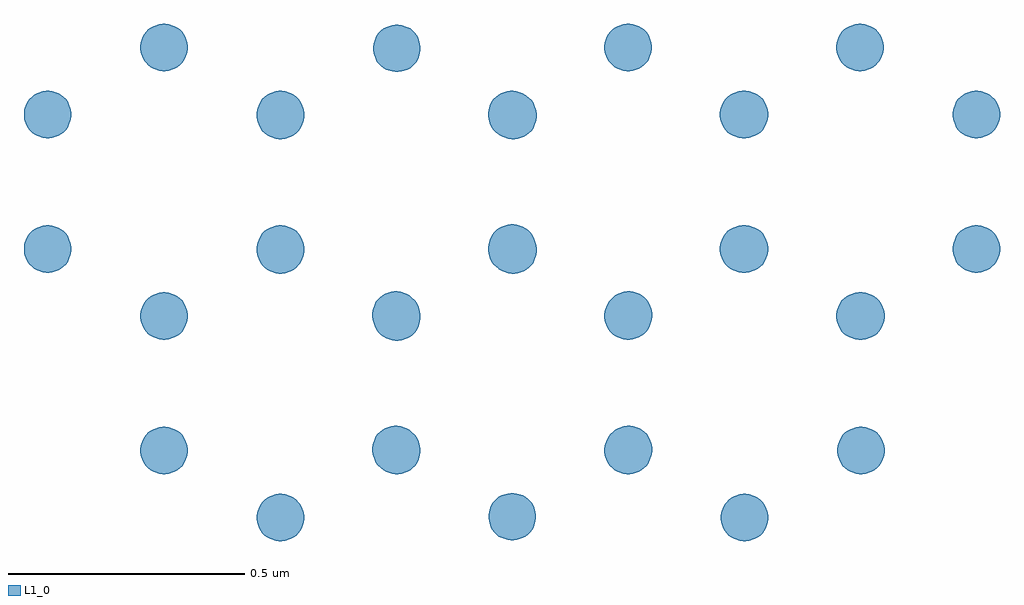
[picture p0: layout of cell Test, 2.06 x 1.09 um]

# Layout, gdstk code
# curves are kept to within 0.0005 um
from math import pi, radians
import gdstk
lib = gdstk.Library(unit=1e-6, precision=1e-09)
def P(c, l, *ps):  # polygons
    for p in ps: c.add(gdstk.Polygon(p, *l))
L1_0 = (1, 0)

divot = lib.new_cell('Divot')

hexagonal_lattice = lib.new_cell('Hexagonal$Lattice')
hexagonal_lattice.add(gdstk.Reference(divot, (-0.246,-0.142), rotation=pi))
hexagonal_lattice.add(gdstk.Reference(divot, (0.246,-0.142), rotation=pi))
hexagonal_lattice.add(gdstk.Reference(divot, (0.246,0.142), rotation=pi))
hexagonal_lattice.add(gdstk.Reference(divot, (0,0.284), rotation=pi))
hexagonal_lattice.add(gdstk.Reference(divot, (-0.246,0.142), rotation=pi))
hexagonal_lattice.add(gdstk.Reference(divot, (0,-0.284), rotation=pi))

test = lib.new_cell('Test')
P(test, L1_0, [(-0.438,-0.223),(-0.445,-0.222),(-0.457,-0.218),(-0.463,-0.215),(-0.473,-0.206),(-0.477,-0.201),(-0.48,-0.195),(-0.484,-0.183),(-0.485,-0.17),(-0.484,-0.163),(-0.48,-0.151),(-0.477,-0.145),(-0.468,-0.135),(-0.463,-0.131),(-0.457,-0.128),(-0.445,-0.124),(-0.432,-0.123),(-0.425,-0.124),(-0.413,-0.128),(-0.407,-0.131),(-0.397,-0.14),(-0.393,-0.145),(-0.39,-0.151),(-0.386,-0.163),(-0.385,-0.176),(-0.386,-0.183),(-0.39,-0.195),(-0.393,-0.201),(-0.402,-0.211),(-0.407,-0.215),(-0.413,-0.218),(-0.425,-0.222)],
  [(0.543,-0.223),(0.536,-0.222),(0.524,-0.218),(0.518,-0.215),(0.508,-0.206),(0.504,-0.201),(0.501,-0.195),(0.497,-0.183),(0.496,-0.17),(0.497,-0.163),(0.501,-0.151),(0.504,-0.145),(0.513,-0.135),(0.518,-0.131),(0.524,-0.128),(0.536,-0.124),(0.549,-0.123),(0.556,-0.124),(0.568,-0.128),(0.574,-0.131),(0.584,-0.14),(0.588,-0.145),(0.591,-0.151),(0.595,-0.163),(0.596,-0.176),(0.595,-0.183),(0.591,-0.195),(0.588,-0.201),(0.579,-0.211),(0.574,-0.215),(0.568,-0.218),(0.556,-0.222)],
  [(0.052,-0.221),(0.045,-0.22),(0.033,-0.216),(0.027,-0.213),(0.017,-0.204),(0.013,-0.199),(0.01,-0.193),(0.006,-0.181),(0.005,-0.168),(0.006,-0.161),(0.01,-0.149),(0.013,-0.143),(0.022,-0.133),(0.027,-0.129),(0.033,-0.126),(0.045,-0.122),(0.058,-0.121),(0.065,-0.122),(0.077,-0.126),(0.083,-0.129),(0.093,-0.138),(0.097,-0.143),(0.1,-0.149),(0.104,-0.161),(0.105,-0.174),(0.104,-0.181),(0.1,-0.193),(0.097,-0.199),(0.088,-0.209),(0.083,-0.213),(0.077,-0.216),(0.065,-0.22)],
  [(-0.684,-0.081),(-0.691,-0.08),(-0.703,-0.076),(-0.709,-0.073),(-0.719,-0.064),(-0.723,-0.059),(-0.726,-0.053),(-0.73,-0.041),(-0.731,-0.028),(-0.73,-0.021),(-0.726,-0.009),(-0.723,-0.003),(-0.714,0.007),(-0.709,0.011),(-0.703,0.014),(-0.691,0.018),(-0.678,0.019),(-0.671,0.018),(-0.659,0.014),(-0.653,0.011),(-0.643,0.002),(-0.639,-0.003),(-0.636,-0.009),(-0.632,-0.021),(-0.631,-0.034),(-0.632,-0.041),(-0.636,-0.053),(-0.639,-0.059),(-0.648,-0.069),(-0.653,-0.073),(-0.659,-0.076),(-0.671,-0.08)],
  [(0.789,-0.081),(0.782,-0.08),(0.77,-0.076),(0.764,-0.073),(0.754,-0.064),(0.75,-0.059),(0.747,-0.053),(0.743,-0.041),(0.742,-0.028),(0.743,-0.021),(0.747,-0.009),(0.75,-0.003),(0.759,0.007),(0.764,0.011),(0.77,0.014),(0.782,0.018),(0.795,0.019),(0.802,0.018),(0.814,0.014),(0.82,0.011),(0.83,0.002),(0.834,-0.003),(0.837,-0.009),(0.841,-0.021),(0.842,-0.034),(0.841,-0.041),(0.837,-0.053),(0.834,-0.059),(0.825,-0.069),(0.82,-0.073),(0.814,-0.076),(0.802,-0.08)],
  [(-0.192,-0.081),(-0.199,-0.08),(-0.211,-0.076),(-0.217,-0.073),(-0.229,-0.062),(-0.233,-0.057),(-0.236,-0.051),(-0.24,-0.039),(-0.241,-0.026),(-0.24,-0.019),(-0.236,-0.007),(-0.233,-0.001),(-0.224,0.009),(-0.219,0.013),(-0.213,0.016),(-0.201,0.02),(-0.188,0.021),(-0.181,0.02),(-0.169,0.016),(-0.163,0.013),(-0.151,0.002),(-0.147,-0.003),(-0.144,-0.009),(-0.14,-0.021),(-0.139,-0.034),(-0.14,-0.041),(-0.144,-0.053),(-0.147,-0.059),(-0.156,-0.069),(-0.161,-0.073),(-0.167,-0.076),(-0.179,-0.08)],
  [(0.297,-0.081),(0.29,-0.08),(0.278,-0.076),(0.272,-0.073),(0.262,-0.064),(0.258,-0.059),(0.255,-0.053),(0.251,-0.041),(0.25,-0.028),(0.251,-0.021),(0.255,-0.009),(0.259,-0.001),(0.268,0.009),(0.273,0.013),(0.279,0.016),(0.291,0.02),(0.304,0.021),(0.311,0.02),(0.323,0.016),(0.329,0.013),(0.339,0.004),(0.343,-0.001),(0.346,-0.007),(0.35,-0.019),(0.351,-0.032),(0.35,-0.039),(0.346,-0.051),(0.342,-0.059),(0.333,-0.069),(0.328,-0.073),(0.322,-0.076),(0.31,-0.08)],
  [(-0.684,0.203),(-0.691,0.204),(-0.703,0.208),(-0.709,0.211),(-0.719,0.22),(-0.723,0.225),(-0.726,0.231),(-0.73,0.243),(-0.731,0.256),(-0.73,0.263),(-0.726,0.275),(-0.723,0.281),(-0.714,0.291),(-0.709,0.295),(-0.703,0.298),(-0.691,0.302),(-0.678,0.303),(-0.671,0.302),(-0.659,0.298),(-0.653,0.295),(-0.643,0.286),(-0.639,0.281),(-0.636,0.275),(-0.632,0.263),(-0.631,0.25),(-0.632,0.243),(-0.636,0.231),(-0.639,0.225),(-0.648,0.215),(-0.653,0.211),(-0.659,0.208),(-0.671,0.204)],
  [(0.787,0.203),(0.78,0.204),(0.768,0.208),(0.762,0.211),(0.752,0.22),(0.748,0.225),(0.745,0.231),(0.741,0.243),(0.74,0.256),(0.741,0.263),(0.745,0.275),(0.748,0.281),(0.757,0.291),(0.762,0.295),(0.768,0.298),(0.78,0.302),(0.787,0.303),(0.795,0.303),(0.802,0.302),(0.814,0.298),(0.82,0.295),(0.83,0.286),(0.834,0.281),(0.837,0.275),(0.841,0.263),(0.842,0.25),(0.841,0.243),(0.837,0.231),(0.834,0.225),(0.825,0.215),(0.82,0.211),(0.814,0.208),(0.802,0.204),(0.795,0.203)],
  [(-0.192,0.201),(-0.199,0.202),(-0.211,0.206),(-0.217,0.209),(-0.227,0.218),(-0.231,0.223),(-0.236,0.233),(-0.24,0.245),(-0.241,0.258),(-0.24,0.265),(-0.236,0.277),(-0.233,0.283),(-0.224,0.293),(-0.219,0.297),(-0.213,0.3),(-0.201,0.304),(-0.188,0.305),(-0.181,0.304),(-0.169,0.3),(-0.163,0.297),(-0.151,0.286),(-0.147,0.281),(-0.144,0.275),(-0.14,0.263),(-0.139,0.256),(-0.139,0.248),(-0.14,0.241),(-0.144,0.229),(-0.147,0.223),(-0.156,0.213),(-0.161,0.209),(-0.167,0.206),(-0.179,0.202)],
  [(0.297,0.203),(0.29,0.204),(0.278,0.208),(0.272,0.211),(0.262,0.22),(0.258,0.225),(0.255,0.231),(0.251,0.243),(0.25,0.256),(0.251,0.263),(0.255,0.275),(0.259,0.283),(0.268,0.293),(0.273,0.297),(0.279,0.3),(0.291,0.304),(0.304,0.305),(0.311,0.304),(0.323,0.3),(0.329,0.297),(0.339,0.288),(0.343,0.283),(0.346,0.277),(0.35,0.265),(0.351,0.252),(0.35,0.245),(0.346,0.233),(0.342,0.225),(0.333,0.215),(0.328,0.211),(0.322,0.208),(0.31,0.204)],
  [(-0.93,0.345),(-0.937,0.346),(-0.949,0.35),(-0.955,0.353),(-0.965,0.362),(-0.969,0.367),(-0.972,0.373),(-0.976,0.385),(-0.977,0.398),(-0.976,0.405),(-0.972,0.417),(-0.969,0.423),(-0.96,0.433),(-0.955,0.437),(-0.949,0.44),(-0.937,0.444),(-0.924,0.445),(-0.917,0.444),(-0.905,0.44),(-0.899,0.437),(-0.889,0.428),(-0.885,0.423),(-0.882,0.417),(-0.878,0.405),(-0.877,0.392),(-0.878,0.385),(-0.882,0.373),(-0.885,0.367),(-0.894,0.357),(-0.899,0.353),(-0.905,0.35),(-0.917,0.346)],
  [(-0.438,0.343),(-0.445,0.344),(-0.457,0.348),(-0.463,0.351),(-0.473,0.36),(-0.477,0.365),(-0.48,0.371),(-0.484,0.383),(-0.485,0.39),(-0.485,0.398),(-0.484,0.405),(-0.48,0.417),(-0.477,0.423),(-0.468,0.433),(-0.463,0.437),(-0.457,0.44),(-0.445,0.444),(-0.432,0.445),(-0.425,0.444),(-0.413,0.44),(-0.407,0.437),(-0.397,0.428),(-0.393,0.423),(-0.39,0.417),(-0.386,0.405),(-0.385,0.398),(-0.385,0.39),(-0.386,0.383),(-0.39,0.371),(-0.393,0.365),(-0.402,0.355),(-0.407,0.351),(-0.413,0.348),(-0.425,0.344)],
  [(0.541,0.345),(0.534,0.346),(0.522,0.35),(0.516,0.353),(0.506,0.362),(0.502,0.367),(0.499,0.373),(0.495,0.385),(0.494,0.398),(0.495,0.405),(0.499,0.417),(0.502,0.423),(0.511,0.433),(0.516,0.437),(0.522,0.44),(0.534,0.444),(0.541,0.445),(0.549,0.445),(0.556,0.444),(0.568,0.44),(0.574,0.437),(0.584,0.428),(0.588,0.423),(0.591,0.417),(0.595,0.405),(0.596,0.392),(0.595,0.385),(0.591,0.373),(0.588,0.367),(0.579,0.357),(0.574,0.353),(0.568,0.35),(0.556,0.346),(0.549,0.345)],
  [(1.033,0.345),(1.026,0.346),(1.014,0.35),(1.008,0.353),(0.998,0.362),(0.994,0.367),(0.991,0.373),(0.987,0.385),(0.986,0.398),(0.987,0.405),(0.991,0.417),(0.994,0.423),(1.003,0.433),(1.008,0.437),(1.014,0.44),(1.026,0.444),(1.039,0.445),(1.046,0.444),(1.058,0.44),(1.064,0.437),(1.074,0.428),(1.078,0.423),(1.081,0.417),(1.085,0.405),(1.086,0.392),(1.085,0.385),(1.081,0.373),(1.078,0.367),(1.069,0.357),(1.064,0.353),(1.058,0.35),(1.046,0.346)],
  [(0.054,0.343),(0.047,0.344),(0.035,0.348),(0.027,0.352),(0.016,0.362),(0.012,0.367),(0.009,0.373),(0.005,0.385),(0.004,0.398),(0.005,0.405),(0.009,0.417),(0.013,0.425),(0.022,0.435),(0.027,0.439),(0.033,0.442),(0.045,0.446),(0.058,0.447),(0.065,0.446),(0.077,0.442),(0.083,0.439),(0.093,0.43),(0.097,0.425),(0.102,0.415),(0.106,0.403),(0.107,0.39),(0.106,0.383),(0.102,0.371),(0.099,0.365),(0.09,0.355),(0.085,0.351),(0.079,0.348),(0.067,0.344)],
  [(-0.93,0.629),(-0.937,0.63),(-0.949,0.634),(-0.955,0.637),(-0.965,0.646),(-0.969,0.651),(-0.972,0.657),(-0.976,0.669),(-0.977,0.682),(-0.976,0.689),(-0.972,0.701),(-0.969,0.707),(-0.96,0.717),(-0.955,0.721),(-0.949,0.724),(-0.937,0.728),(-0.924,0.729),(-0.917,0.728),(-0.905,0.724),(-0.899,0.721),(-0.889,0.712),(-0.885,0.707),(-0.882,0.701),(-0.878,0.689),(-0.877,0.676),(-0.878,0.669),(-0.882,0.657),(-0.885,0.651),(-0.894,0.641),(-0.899,0.637),(-0.905,0.634),(-0.917,0.63)],
  [(-0.438,0.627),(-0.445,0.628),(-0.457,0.632),(-0.463,0.635),(-0.473,0.644),(-0.477,0.649),(-0.48,0.655),(-0.484,0.667),(-0.485,0.674),(-0.485,0.682),(-0.484,0.689),(-0.48,0.701),(-0.477,0.707),(-0.468,0.717),(-0.463,0.721),(-0.457,0.724),(-0.445,0.728),(-0.432,0.729),(-0.425,0.728),(-0.413,0.724),(-0.407,0.721),(-0.397,0.712),(-0.393,0.707),(-0.39,0.701),(-0.386,0.689),(-0.385,0.682),(-0.385,0.674),(-0.386,0.667),(-0.39,0.655),(-0.393,0.649),(-0.402,0.639),(-0.407,0.635),(-0.413,0.632),(-0.425,0.628)],
  [(0.054,0.627),(0.047,0.628),(0.035,0.632),(0.027,0.636),(0.021,0.641),(0.012,0.651),(0.009,0.657),(0.005,0.669),(0.004,0.676),(0.005,0.689),(0.009,0.701),(0.012,0.707),(0.016,0.712),(0.026,0.721),(0.032,0.724),(0.044,0.728),(0.051,0.729),(0.064,0.728),(0.076,0.724),(0.084,0.72),(0.09,0.715),(0.099,0.705),(0.102,0.699),(0.106,0.687),(0.107,0.68),(0.106,0.667),(0.102,0.655),(0.099,0.649),(0.095,0.644),(0.085,0.635),(0.079,0.632),(0.067,0.628)],
  [(0.541,0.629),(0.534,0.63),(0.522,0.634),(0.516,0.637),(0.506,0.646),(0.502,0.651),(0.499,0.657),(0.495,0.669),(0.494,0.682),(0.495,0.689),(0.499,0.701),(0.502,0.707),(0.511,0.717),(0.516,0.721),(0.522,0.724),(0.534,0.728),(0.541,0.729),(0.549,0.729),(0.556,0.728),(0.568,0.724),(0.574,0.721),(0.584,0.712),(0.588,0.707),(0.591,0.701),(0.595,0.689),(0.596,0.676),(0.595,0.669),(0.591,0.657),(0.588,0.651),(0.579,0.641),(0.574,0.637),(0.568,0.634),(0.556,0.63),(0.549,0.629)],
  [(1.033,0.629),(1.026,0.63),(1.014,0.634),(1.008,0.637),(0.998,0.646),(0.994,0.651),(0.991,0.657),(0.987,0.669),(0.986,0.682),(0.987,0.689),(0.991,0.701),(0.994,0.707),(1.003,0.717),(1.008,0.721),(1.014,0.724),(1.026,0.728),(1.039,0.729),(1.046,0.728),(1.058,0.724),(1.064,0.721),(1.074,0.712),(1.078,0.707),(1.081,0.701),(1.085,0.689),(1.086,0.676),(1.085,0.669),(1.081,0.657),(1.078,0.651),(1.069,0.641),(1.064,0.637),(1.058,0.634),(1.046,0.63)],
  [(-0.192,0.769),(-0.199,0.77),(-0.211,0.774),(-0.217,0.777),(-0.227,0.786),(-0.231,0.791),(-0.234,0.797),(-0.238,0.809),(-0.239,0.822),(-0.238,0.829),(-0.234,0.841),(-0.231,0.847),(-0.222,0.857),(-0.217,0.861),(-0.211,0.864),(-0.199,0.868),(-0.186,0.869),(-0.179,0.868),(-0.167,0.864),(-0.161,0.861),(-0.151,0.852),(-0.147,0.847),(-0.144,0.841),(-0.14,0.829),(-0.139,0.816),(-0.14,0.809),(-0.144,0.797),(-0.147,0.791),(-0.156,0.781),(-0.161,0.777),(-0.167,0.774),(-0.179,0.77)],
  [(-0.684,0.771),(-0.691,0.772),(-0.703,0.776),(-0.709,0.779),(-0.719,0.788),(-0.723,0.793),(-0.726,0.799),(-0.73,0.811),(-0.731,0.824),(-0.73,0.831),(-0.726,0.843),(-0.723,0.849),(-0.714,0.859),(-0.709,0.863),(-0.703,0.866),(-0.691,0.87),(-0.678,0.871),(-0.671,0.87),(-0.659,0.866),(-0.653,0.863),(-0.643,0.854),(-0.639,0.849),(-0.636,0.843),(-0.632,0.831),(-0.631,0.818),(-0.632,0.811),(-0.636,0.799),(-0.639,0.793),(-0.648,0.783),(-0.653,0.779),(-0.659,0.776),(-0.671,0.772)],
  [(0.297,0.771),(0.29,0.772),(0.278,0.776),(0.272,0.779),(0.262,0.788),(0.258,0.793),(0.255,0.799),(0.251,0.811),(0.25,0.824),(0.251,0.831),(0.255,0.843),(0.258,0.849),(0.267,0.859),(0.272,0.863),(0.278,0.866),(0.29,0.87),(0.303,0.871),(0.31,0.87),(0.322,0.866),(0.328,0.863),(0.338,0.854),(0.342,0.849),(0.345,0.843),(0.349,0.831),(0.35,0.818),(0.349,0.811),(0.345,0.799),(0.342,0.793),(0.333,0.783),(0.328,0.779),(0.322,0.776),(0.31,0.772)],
  [(0.787,0.771),(0.78,0.772),(0.768,0.776),(0.762,0.779),(0.752,0.788),(0.748,0.793),(0.745,0.799),(0.741,0.811),(0.74,0.824),(0.741,0.831),(0.745,0.843),(0.748,0.849),(0.757,0.859),(0.762,0.863),(0.768,0.866),(0.78,0.87),(0.793,0.871),(0.8,0.87),(0.812,0.866),(0.818,0.863),(0.828,0.854),(0.832,0.849),(0.835,0.843),(0.839,0.831),(0.84,0.818),(0.839,0.811),(0.835,0.799),(0.832,0.793),(0.823,0.783),(0.818,0.779),(0.812,0.776),(0.8,0.772)])
r = gdstk.Reference(hexagonal_lattice, (-0.681,0.537), rotation=pi); r.repetition = gdstk.Repetition(1, 1, v1=(0,0), v2=(0,0)); test.add(r)
r = gdstk.Reference(hexagonal_lattice, (-0.189,0.535), rotation=pi); r.repetition = gdstk.Repetition(1, 1, v1=(0,0), v2=(0,0)); test.add(r)
r = gdstk.Reference(hexagonal_lattice, (-0.435,0.111), rotation=pi); r.repetition = gdstk.Repetition(1, 1, v1=(0,0), v2=(0,0)); test.add(r)
r = gdstk.Reference(hexagonal_lattice, (0.055,0.113), rotation=pi); r.repetition = gdstk.Repetition(1, 1, v1=(0,0), v2=(0,0)); test.add(r)
r = gdstk.Reference(hexagonal_lattice, (0.3,0.537), rotation=pi); r.repetition = gdstk.Repetition(1, 1, v1=(0,0), v2=(0,0)); test.add(r)
r = gdstk.Reference(hexagonal_lattice, (0.79,0.537), rotation=pi); r.repetition = gdstk.Repetition(1, 1, v1=(0,0), v2=(0,0)); test.add(r)
r = gdstk.Reference(hexagonal_lattice, (0.546,0.111), rotation=pi); r.repetition = gdstk.Repetition(1, 1, v1=(0,0), v2=(0,0)); test.add(r)

lib.write_gds('Test.gds')
